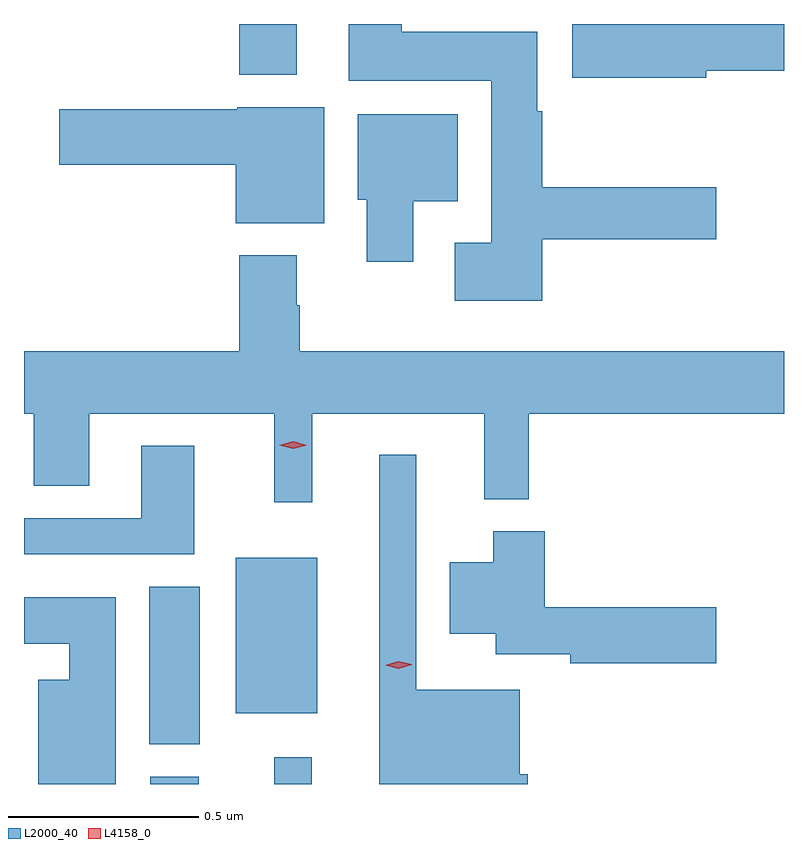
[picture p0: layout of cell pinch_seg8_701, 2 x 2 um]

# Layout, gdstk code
import gdstk
lib = gdstk.Library(unit=1e-6, precision=1e-09)
def R(c, l, rs):  # rectangles x0, y0, x1, y1
    for r in rs: c.add(gdstk.rectangle(r[:2], r[2:], *l))
def P(c, l, *ps):  # polygons
    for p in ps: c.add(gdstk.Polygon(p, *l))
L2000_40 = (2000, 40)
L4158_0 = (4158, 0)

pinch_seg8_701 = lib.new_cell('pinch_seg8_701')
R(pinch_seg8_701, L2000_40, [(250.157,1103.537,250.285,1103.556), (250.484,1103.537,250.582,1103.608), (250.154,1103.641,250.288,1104.056), (250.382,1103.723,250.597,1104.133), (250.391,1105.403,250.543,1105.537)])
P(pinch_seg8_701, L2000_40, [(251.62,1105.414),(251.825,1105.414),(251.825,1105.537),(251.268,1105.537),(251.268,1105.396),(251.62,1105.396)],
  [(251.189,1104.97),(251.647,1104.97),(251.647,1105.107),(251.189,1105.107),(251.189,1105.307),(251.176,1105.307),(251.176,1105.516),(250.819,1105.516),(250.819,1105.537),(250.679,1105.537),(250.679,1105.388),(251.054,1105.388),(251.054,1104.961),(250.959,1104.961),(250.959,1104.809),(251.189,1104.809)],
  [(250.615,1105.318),(250.386,1105.318),(250.386,1105.313),(249.918,1105.313),(249.918,1105.166),(250.382,1105.166),(250.382,1105.013),(250.615,1105.013)],
  [(250.849,1105.07),(250.966,1105.07),(250.966,1105.3),(250.703,1105.3),(250.703,1105.074),(250.727,1105.074),(250.727,1104.912),(250.849,1104.912)],
  [(250.583,1104.512),(251.036,1104.512),(251.036,1104.287),(251.153,1104.287),(251.153,1104.512),(251.825,1104.512),(251.825,1104.676),(250.551,1104.676),(250.551,1104.797),(250.543,1104.797),(250.543,1104.928),(250.391,1104.928),(250.391,1104.676),(249.825,1104.676),(249.825,1104.512),(249.85,1104.512),(249.85,1104.322),(249.997,1104.322),(249.997,1104.512),(250.484,1104.512),(250.484,1104.279),(250.583,1104.279)],
  [(250.273,1104.427),(250.133,1104.427),(250.133,1104.237),(249.825,1104.237),(249.825,1104.141),(250.273,1104.141)],
  [(251.15,1103.563),(251.13,1103.563),(251.13,1103.785),(250.857,1103.785),(250.857,1104.403),(250.76,1104.403),(250.76,1103.537),(251.15,1103.537)],
  [(251.647,1104.002),(251.195,1104.002),(251.195,1104.202),(251.06,1104.202),(251.06,1104.121),(250.946,1104.121),(250.946,1103.933),(251.066,1103.933),(251.066,1103.879),(251.262,1103.879),(251.262,1103.855),(251.647,1103.855)],
  [(250.066,1104.028),(249.825,1104.028),(249.825,1103.906),(249.944,1103.906),(249.944,1103.812),(249.863,1103.812),(249.863,1103.537),(250.066,1103.537)])
P(pinch_seg8_701, L4158_0, [(250.811,1103.84),(250.775,1103.849),(250.775,1103.849),(250.775,1103.849),(250.81,1103.86),(250.846,1103.852),(250.846,1103.852),(250.846,1103.851)],
  [(250.533,1104.419),(250.497,1104.428),(250.497,1104.429),(250.497,1104.429),(250.533,1104.439),(250.569,1104.429),(250.569,1104.429),(250.569,1104.428)])

lib.write_gds('pinch_seg8_701.gds')
